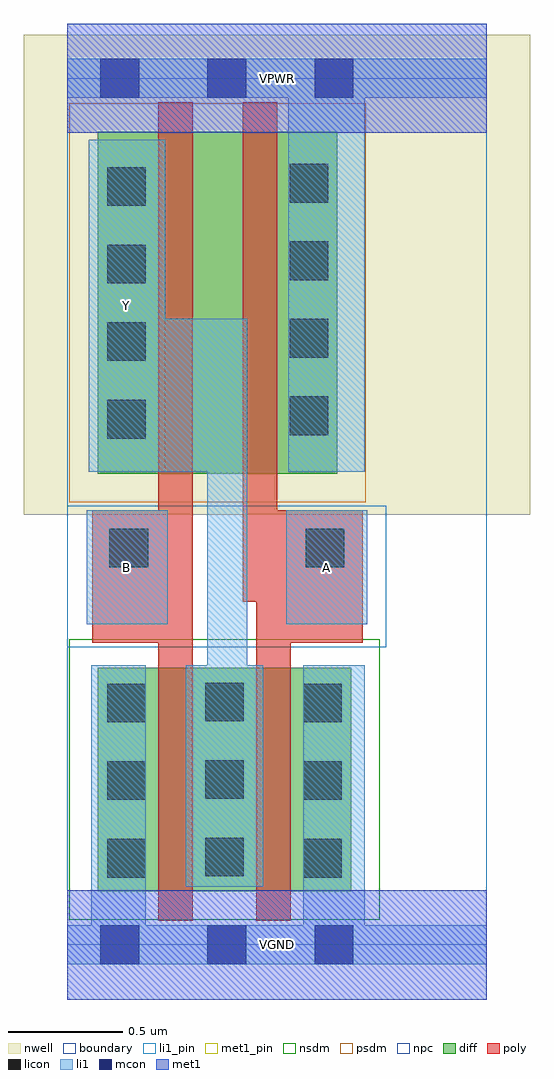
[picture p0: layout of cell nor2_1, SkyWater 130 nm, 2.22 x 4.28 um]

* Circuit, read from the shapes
.subckt nor2_1 A B VGND VPWR Y
XM1 Y B VGND VSUBS sky130_fd_pr__nfet_01v8 w=0.98 l=0.15
XM2 VGND A Y VSUBS sky130_fd_pr__nfet_01v8 w=0.98 l=0.15
XM3 n1 B Y n2 sky130_fd_pr__pfet_01v8 w=1.5 l=0.15
XM4 VPWR A n1 n2 sky130_fd_pr__pfet_01v8 w=1.5 l=0.15
.ends

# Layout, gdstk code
import gdstk
lib = gdstk.Library(unit=1e-6, precision=1e-09)
def R(c, l, rs):  # rectangles x0, y0, x1, y1
    for r in rs: c.add(gdstk.rectangle(r[:2], r[2:], *l))
def A(c, l, x, y, w, h, nx, ny, dx, dy):  # array of equal rectangles
    R(c, l, [(x+i*dx, y+j*dy, x+i*dx+w, y+j*dy+h) for i in range(nx) for j in range(ny)])
nwell = (64, 20)
diff = (65, 20)
poly = (66, 20)
licon = (66, 44)
li1_pin = (67, 16)
li1 = (67, 20)
mcon = (67, 44)
met1_pin = (68, 16)
met1 = (68, 20)
nsdm = (93, 44)
psdm = (94, 20)
npc = (95, 20)
boundary = (235, 4)

nor2_1 = lib.new_cell('nor2_1')
R(nor2_1, nwell, [(-0.19,1.885,2.03,3.99), (0,1.885,1.84,3.99)])
R(nor2_1, diff, [(0.135,0.235,1.245,1.215), (0.135,2.065,1.185,3.565)])
R(nor2_1, poly, [(0.4,0.105,0.55,3.695), (0.83,0.105,0.98,1.905), (0.11,1.325,0.55,1.905), (0.83,1.325,1.295,1.905), (0.77,1.505,0.92,3.695)])
A(nor2_1, licon, 0.175, 0.295, 0.17, 0.17, 1, 3, 0, 0.34)
A(nor2_1, licon, 1.035, 0.295, 0.17, 0.17, 1, 3, 0, 0.34)
A(nor2_1, licon, 0.605, 0.3, 0.17, 0.17, 1, 3, 0, 0.34)
A(nor2_1, licon, 0.175, 2.22, 0.17, 0.17, 1, 4, 0, 0.34)
A(nor2_1, licon, 0.975, 2.235, 0.17, 0.17, 1, 4, 0, 0.34)
R(nor2_1, licon, [(0.185,1.655,0.355,1.825), (1.045,1.655,1.215,1.825)])
R(nor2_1, li1_pin, [(0.085,1.405,0.44,1.905), (0.96,1.405,1.315,1.905), (0.095,2.075,0.43,3.53)])
R(nor2_1, li1, [(0,-0.085,1.84,0.085), (0.105,-0.085,0.345,1.225), (1.035,-0.085,1.305,1.225), (0.52,0.255,0.86,1.225), (0.615,0.255,0.79,2.745), (0.085,1.405,0.44,1.905), (0.96,1.405,1.315,1.905), (0.095,2.075,0.43,3.53), (0.095,2.075,0.79,2.745), (0.97,2.075,1.305,3.885), (0,3.715,1.84,3.885)])
A(nor2_1, mcon, 0.145, -0.085, 0.17, 0.17, 3, 2, 0.47, 3.8)
R(nor2_1, met1_pin, [(0,-0.24,1.84,0.24), (0,3.56,1.84,4.04)])
R(nor2_1, met1, [(0,-0.24,1.84,0.24), (0,3.56,1.84,4.04)])
R(nor2_1, nsdm, [(0.01,0.11,1.37,1.34)])
R(nor2_1, psdm, [(0.01,1.94,1.31,3.69)])
R(nor2_1, npc, [(0,1.305,1.4,1.925)])
R(nor2_1, boundary, [(0,0,1.84,3.8)])
nor2_1.add(gdstk.Label('A', (1.137,1.655), layer=67, texttype=5))
nor2_1.add(gdstk.Label('B', (0.262,1.655), layer=67, texttype=5))
nor2_1.add(gdstk.Label('Y', (0.262,2.802), layer=67, texttype=5))
nor2_1.add(gdstk.Label('VPWR', (0.92,3.8), layer=68, texttype=5))
nor2_1.add(gdstk.Label('VGND', (0.92,0), layer=68, texttype=5))
nor2_1.add(gdstk.Label('A', (1.137,1.655), layer=67, texttype=16))
nor2_1.add(gdstk.Label('B', (0.262,1.655), layer=67, texttype=16))
nor2_1.add(gdstk.Label('Y', (0.262,2.802), layer=67, texttype=16))
nor2_1.add(gdstk.Label('VPWR', (0.92,3.8), layer=68, texttype=16))
nor2_1.add(gdstk.Label('VGND', (0.92,0), layer=68, texttype=16))

lib.write_gds('nor2_1.gds')
